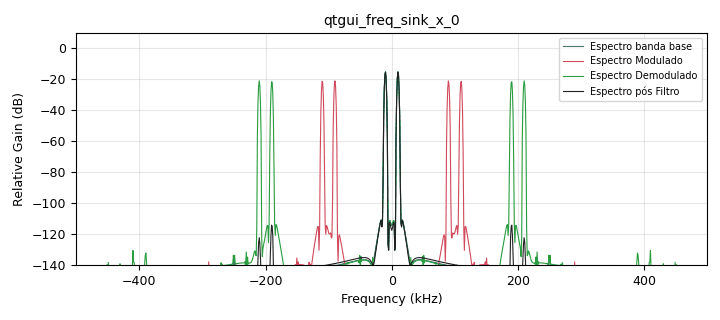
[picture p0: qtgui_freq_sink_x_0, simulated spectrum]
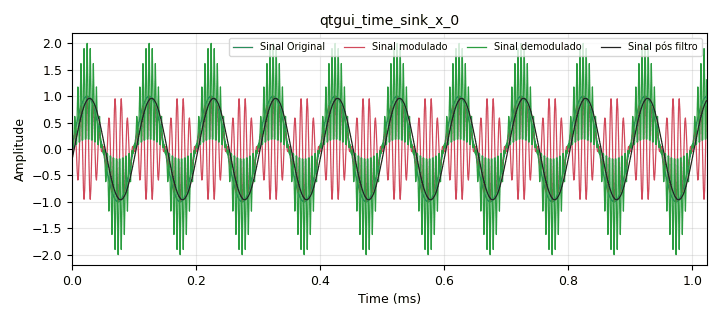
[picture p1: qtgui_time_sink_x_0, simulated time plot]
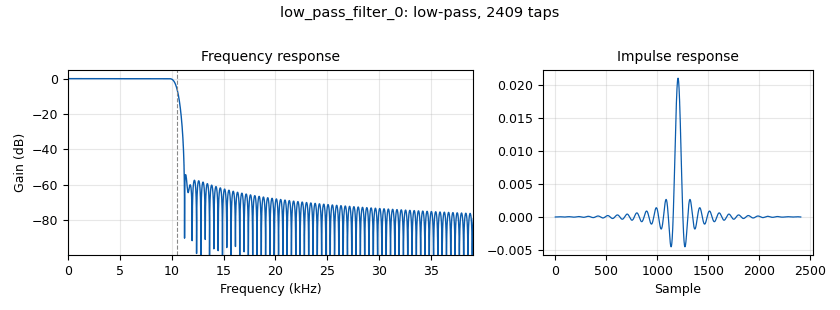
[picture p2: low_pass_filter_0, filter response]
options:
  parameters:
    author: vitor
    generate_options: qt_gui
    id: produtoSinais
    output_language: python
    title: Not titled yet
  states: {}

blocks:
- name: samp_rate
  id: variable
  parameters:
    value: '1000000'
  states: {}
- name: variable_qtgui_range_0
  id: variable_qtgui_range
  parameters:
    start: '100'
    step: '1'
    stop: '3000'
    value: '100'
  states: {}
- name: analog_sig_source_x_0
  id: analog_sig_source_x
  parameters:
    amp: '1'
    freq: '100000'
    offset: '0'
    phase: '0'
    samp_rate: samp_rate
    type: float
    waveform: analog.GR_COS_WAVE
  states: {}
- name: analog_sig_source_x_1
  id: analog_sig_source_x
  parameters:
    amp: '1'
    freq: '10000'
    offset: '0'
    phase: '0'
    samp_rate: samp_rate
    type: float
    waveform: analog.GR_COS_WAVE
  states: {}
- name: analog_sig_source_x_2
  id: analog_sig_source_x
  parameters:
    amp: '2'
    freq: '100000'
    offset: '0'
    phase: '0'
    samp_rate: samp_rate
    type: float
    waveform: analog.GR_COS_WAVE
  states: {}
- name: blocks_multiply_xx_0
  id: blocks_multiply_xx
  parameters:
    type: float
  states: {}
- name: blocks_multiply_xx_1
  id: blocks_multiply_xx
  parameters:
    type: float
  states: {}
- name: blocks_throttle2_0
  id: blocks_throttle2
  parameters:
    samples_per_second: samp_rate/10
    type: float
  states: {}
- name: low_pass_filter_0
  id: low_pass_filter
  parameters:
    cutoff_freq: '10500'
    gain: '1'
    interp: '1'
    samp_rate: samp_rate
    type: interp_fir_filter_fff
    width: '1000'
    win: window.WIN_HAMMING
  states: {}
- name: qtgui_freq_sink_x_0
  id: qtgui_freq_sink_x
  parameters:
    bw: samp_rate
    color2: '"green"'
    fc: '0'
    fftsize: '1024'
    label1: Espectro banda base
    label2: Espectro Modulado
    label3: Espectro Demodulado
    label4: Espectro pós Filtro
    nconnections: '4'
    type: float
  states: {}
- name: qtgui_time_sink_x_0
  id: qtgui_time_sink_x
  parameters:
    autoscale: 'True'
    ctrlpanel: 'True'
    grid: 'True'
    label1: Sinal Original
    label2: Sinal modulado
    label3: Sinal demodulado
    label4: Sinal pós filtro
    nconnections: '4'
    size: '1024'
    srate: samp_rate
    type: float
  states: {}

connections:
- [analog_sig_source_x_0, '0', blocks_multiply_xx_0, '0']
- [analog_sig_source_x_1, '0', blocks_multiply_xx_0, '1']
- [analog_sig_source_x_1, '0', qtgui_freq_sink_x_0, '0']
- [analog_sig_source_x_1, '0', qtgui_time_sink_x_0, '0']
- [analog_sig_source_x_2, '0', blocks_multiply_xx_1, '1']
- [blocks_multiply_xx_0, '0', blocks_throttle2_0, '0']
- [blocks_multiply_xx_0, '0', qtgui_freq_sink_x_0, '1']
- [blocks_multiply_xx_0, '0', qtgui_time_sink_x_0, '1']
- [blocks_multiply_xx_1, '0', low_pass_filter_0, '0']
- [blocks_multiply_xx_1, '0', qtgui_freq_sink_x_0, '2']
- [blocks_multiply_xx_1, '0', qtgui_time_sink_x_0, '2']
- [blocks_throttle2_0, '0', blocks_multiply_xx_1, '0']
- [low_pass_filter_0, '0', qtgui_freq_sink_x_0, '3']
- [low_pass_filter_0, '0', qtgui_time_sink_x_0, '3']

metadata:
  file_format: 1
  grc_version: 3.10.12.0
